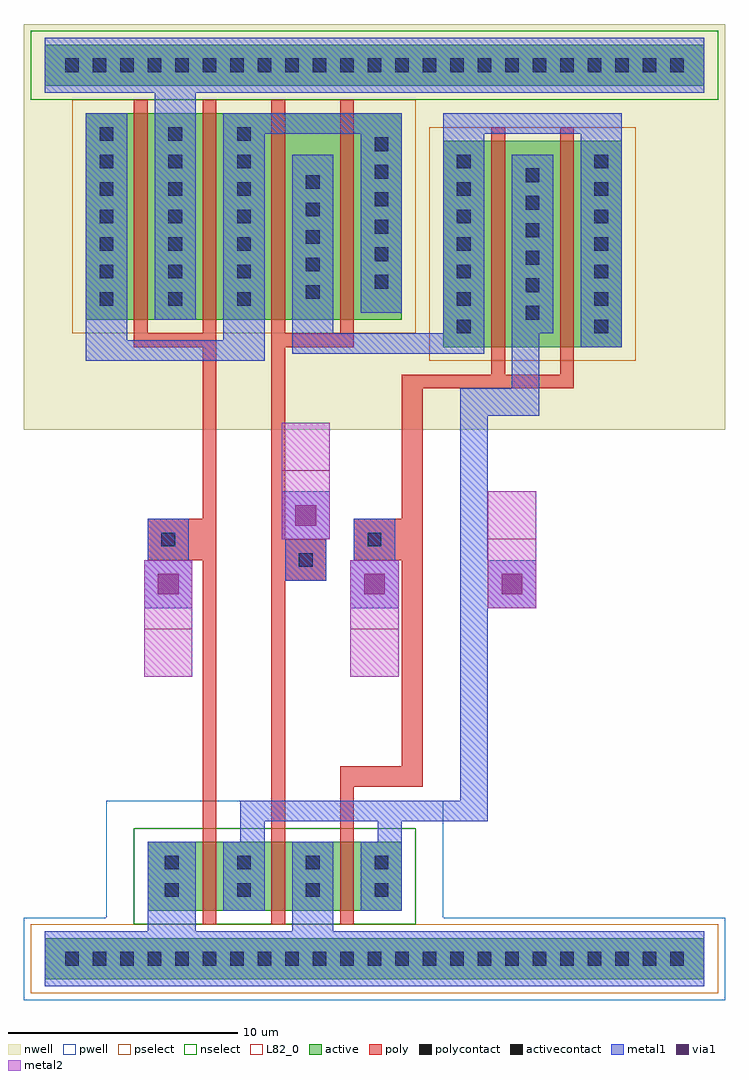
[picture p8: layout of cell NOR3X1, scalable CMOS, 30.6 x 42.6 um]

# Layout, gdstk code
import gdstk
lib = gdstk.Library(unit=1e-6, precision=1e-09)
def R(c, l, rs):  # rectangles x0, y0, x1, y1
    for r in rs: c.add(gdstk.rectangle(r[:2], r[2:], *l))
def A(c, l, x, y, w, h, nx, ny, dx, dy):  # array of equal rectangles
    R(c, l, [(x+i*dx, y+j*dy, x+i*dx+w, y+j*dy+h) for i in range(nx) for j in range(ny)])
pwell = (41, 0)
nwell = (42, 0)
active = (43, 0)
pselect = (44, 0)
nselect = (45, 0)
poly = (46, 0)
polycontact = (47, 0)
activecontact = (48, 0)
metal1 = (49, 0)
via1 = (50, 0)
metal2 = (51, 0)
L82_0 = (82, 0)

nor3x1 = lib.new_cell('NOR3X1')
R(nor3x1, pwell, [(-1.8,-1.8,28.8,1.8), (1.8,1.8,16.5,6.9)])
R(nor3x1, nwell, [(-1.8,23.1,28.8,40.8)])
R(nor3x1, active, [(-0.9,-0.9,27.9,0.9), (3.6,2.1,14.7,5.1), (16.5,26.7,24.3,35.7), (0.9,27.9,14.7,36.9), (-0.9,38.1,27.9,39.9)])
R(nor3x1, pselect, [(-1.5,-1.5,28.5,1.5), (15.9,26.1,24.9,36.3), (0.3,27.3,15.3,37.5)])
R(nor3x1, nselect, [(3,1.5,15.3,5.7), (-1.5,37.5,28.5,40.5)])
A(nor3x1, poly, 3, 27.3, 0.6, 10.2, 4, 1, 3, 0)
R(nor3x1, poly, [(6,1.5,6.6,17.4), (9,1.5,9.6,16.5), (12,1.5,12.6,7.5), (12,7.5,15.6,8.4), (14.7,8.4,15.6,17.4), (9,16.5,11.4,18.3), (3.6,17.4,6.6,19.2), (12.6,17.4,15.6,19.2), (9,18.3,9.6,26.7), (6,19.2,6.6,26.7), (14.7,19.2,15.6,24.9), (14.7,24.9,22.2,25.5), (18.6,25.5,19.2,36.3), (21.6,25.5,22.2,36.3), (3,26.7,6.6,27.3), (9,26.7,12.6,27.3)])
R(nor3x1, polycontact, [(10.2,17.1,10.8,17.7), (4.2,18,4.8,18.6), (13.2,18,13.8,18.6)])
A(nor3x1, activecontact, 0, -0.3, 0.6, 0.6, 23, 2, 1.2, 39)
A(nor3x1, activecontact, 7.5, 2.7, 0.6, 0.6, 3, 2, 3, 1.2)
A(nor3x1, activecontact, 17.1, 27.3, 0.6, 0.6, 1, 7, 0, 1.2)
A(nor3x1, activecontact, 23.1, 27.3, 0.6, 0.6, 1, 7, 0, 1.2)
A(nor3x1, activecontact, 20.1, 27.9, 0.6, 0.6, 1, 6, 0, 1.2)
A(nor3x1, activecontact, 1.5, 28.5, 0.6, 0.6, 3, 7, 3, 1.2)
A(nor3x1, activecontact, 10.5, 28.8, 0.6, 0.6, 1, 5, 0, 1.2)
A(nor3x1, activecontact, 13.5, 29.25, 0.6, 0.6, 1, 6, 0, 1.2)
R(nor3x1, activecontact, [(4.35,2.7,4.95,3.3), (4.35,3.9,4.95,4.5)])
R(nor3x1, metal1, [(-0.9,-1.2,27.9,1.2), (3.6,1.2,5.7,5.1), (9.9,1.2,11.7,5.1), (6.9,2.1,8.7,5.1), (12.9,2.1,14.7,5.1), (7.65,5.1,8.7,6), (13.65,5.1,14.7,6), (7.65,6,18.45,6.9), (17.25,6.9,18.45,15.3), (3.45,15.3,5.55,17.4), (12.45,15.3,14.55,17.4), (17.25,15.3,20.55,17.4), (9.6,16.5,11.4,18.3), (3.6,17.4,5.4,19.2), (12.6,17.4,14.4,19.2), (17.25,17.4,18.45,23.7), (9.45,18.3,11.55,20.4), (17.25,23.7,20.7,24.9), (19.5,24.9,20.7,27.3), (0.9,26.1,8.7,27), (9.9,26.4,18.3,27.3), (22.5,26.7,24.3,36), (0.9,27,2.7,36.9), (6.9,27,8.7,36), (9.9,27.3,11.7,35.1), (16.5,27.3,18.3,36), (19.5,27.3,21.3,35.1), (3.9,27.9,5.7,37.8), (12.9,28.2,14.7,36), (6.9,36,14.7,36.9), (16.5,36,24.3,36.9), (-0.9,37.8,27.9,40.2)])
R(nor3x1, via1, [(4.05,15.9,4.95,16.8), (13.05,15.9,13.95,16.8), (19.05,15.9,19.95,16.8), (10.05,18.9,10.95,19.8)])
R(nor3x1, metal2, [(3.45,12.3,5.55,17.4), (12.45,12.3,14.55,17.4), (18.45,15.3,20.55,20.4), (9.45,18.3,11.55,23.4)])
R(nor3x1, L82_0, [(3.45,12.3,5.55,14.4), (12.45,12.3,14.55,14.4), (18.45,18.3,20.55,20.4), (9.45,21.3,11.55,23.4)])

lib.write_gds('NOR3X1.gds')
